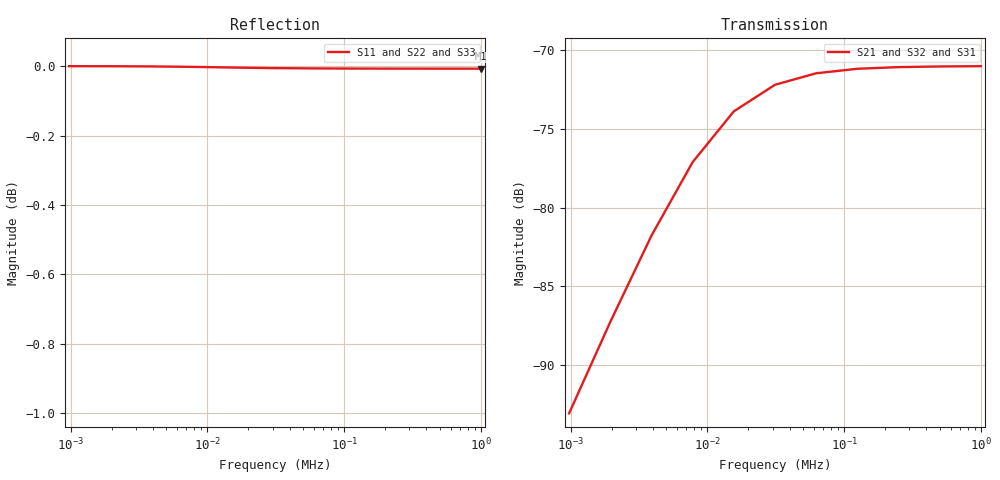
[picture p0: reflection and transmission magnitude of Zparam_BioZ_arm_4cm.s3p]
# MHz Z RI R 50
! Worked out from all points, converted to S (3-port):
!   11 points, 976.6 Hz to 1 MHz, reference 50 ohm
!   strongest paths, dB at 976.6 Hz, 3.906 kHz, 31.25 kHz, 250 kHz, 1 MHz:
!     S21: -93.1, -81.8, -72.2, -71.1, -71.0
!     S32: -93.1, -81.8, -72.4, -71.2, -71.1
!     S31: -93.1, -81.9, -72.6, -71.3, -71.1
!   lowest |S11| = 0.0 dB at 1 MHz (marker M1)
!   |S11| at or under -10 dB: nowhere
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0.000976563  5828 -4.468e+04  2941 -2.234e+04  2883 -2.234e+04
             2941 -2.234e+04  5770 -4.468e+04  2886 -2.234e+04
             2883 -2.234e+04  2886 -2.234e+04  5714 -4.467e+04
0.00390625  4606 -1.148e+04  2328 -5742  2275 -5739
            2328 -5742  4554 -1.148e+04  2278 -5739
            2275 -5739  2278 -5739  4502 -1.147e+04
0.0078125  4306 -5896  2177 -2949  2126 -2946
           2177 -2949  4256 -5892  2129 -2946
           2126 -2946  2129 -2946  4206 -5888
0.015625  4084 -3067  2065 -1536  2017 -1531
          2065 -1536  4037 -3061  2019 -1531
          2017 -1531  2019 -1531  3989 -3057
0.03125  3918 -1618  1980 -812.3  1936 -804.9
         1980 -812.3  3876 -1610  1939 -805
         1936 -804.9  1939 -805  3832 -1603
0.0625  3798 -863  1917 -436.3  1879 -426.1
        1917 -436.3  3761 -852.7  1881 -426.5
        1879 -426.1  1881 -426.5  3723 -842.6
0.125  3711 -461.3  1869 -236  1840 -224.8
       1869 -236  3683 -450.2  1842 -225.3
       1840 -224.8  1842 -225.3  3654 -439.1
0.25  3651 -242.4  1835 -125.5  1815 -116.5
      1835 -125.5  3632 -233.6  1816 -116.9
      1815 -116.5  1816 -116.9  3612 -224.6
0.5  3614 -124.4  1813 -64.92  1800 -59.26
     1813 -64.92  3601 -118.8  1801 -59.52
     1800 -59.26  1801 -59.52  3588 -113.2
1  3592 -63.91  1801 -33.54  1791 -30.25
   1801 -33.54  3583 -60.69  1792 -30.4
   1791 -30.25  1792 -30.4  3574 -57.41
